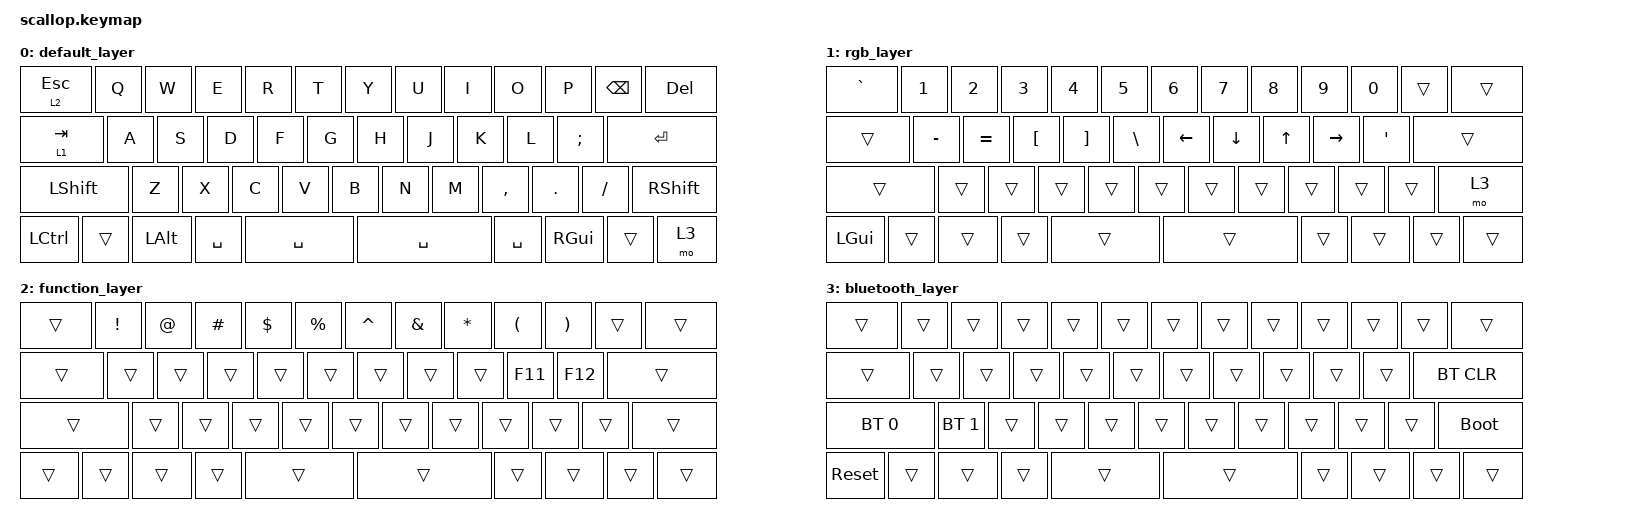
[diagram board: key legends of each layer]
/*
 * Copyright (c) 2024 Nick Winans
 *
 * SPDX-License-Identifier: MIT
 */

#include <behaviors.dtsi>
#include <dt-bindings/zmk/bt.h>
#include <dt-bindings/zmk/keys.h>

/ {
    keymap {
        compatible = "zmk,keymap";

        default_layer {
            bindings = <
&lt 2 ESC  &kp Q   &kp W     &kp E  &kp R      &kp T      &kp Y      &kp U      &kp I  &kp O      &kp P     &kp BSPC  &kp DEL
&lt 1 TAB  &kp A   &kp S     &kp D  &kp F      &kp G      &kp H      &kp J      &kp K  &kp L      &kp SEMI  &kp RET
&kp LSHFT          &kp Z     &kp X  &kp C      &kp V      &kp B      &kp N      &kp M  &kp COMMA  &kp DOT   &kp FSLH  &kp RSHFT
&kp LCTRL  &trans  &kp LALT         &kp SPACE  &kp SPACE  &kp SPACE  &kp SPACE                    &kp RGUI  &trans    &mo 3
            >;
        };

        rgb_layer {
            bindings = <
&kp GRAVE  &kp N1     &kp N2     &kp N3    &kp N4    &kp N5    &kp N6    &kp N7    &kp N8  &kp N9     &kp N0    &trans  &trans
&trans     &kp MINUS  &kp EQUAL  &kp LBKT  &kp RBKT  &kp BSLH  &kp LEFT  &kp DOWN  &kp UP  &kp RIGHT  &kp APOS  &trans
&trans                &trans     &trans    &trans    &trans    &trans    &trans    &trans  &trans     &trans    &trans  &mo 3
&kp LGUI   &trans     &trans               &trans    &trans    &trans    &trans                       &trans    &trans  &trans
            >;
        };

        function_layer {
            bindings = <
&trans  &kp EXCL  &kp AT  &kp HASH  &kp DLLR  &kp PRCNT  &kp CARET  &kp AMPS  &kp STAR  &kp LPAR  &kp RPAR  &trans  &trans
&trans  &trans    &trans  &trans    &trans    &trans     &trans     &trans    &trans    &kp F11   &kp F12   &trans
&trans            &trans  &trans    &trans    &trans     &trans     &trans    &trans    &trans    &trans    &trans  &trans
&trans  &trans    &trans            &trans    &trans     &trans     &trans                        &trans    &trans  &trans
            >;
        };

        bluetooth_layer {
            bindings = <
&trans        &trans  &trans        &trans  &trans  &trans  &trans  &trans  &trans  &trans  &trans  &trans      &trans
&trans        &trans  &trans        &trans  &trans  &trans  &trans  &trans  &trans  &trans  &trans  &bt BT_CLR
&bt BT_SEL 0          &bt BT_SEL 1  &trans  &trans  &trans  &trans  &trans  &trans  &trans  &trans  &trans      &bootloader
&sys_reset    &trans  &trans                &trans  &trans  &trans  &trans                  &trans  &trans      &trans
            >;
        };
    };
};
